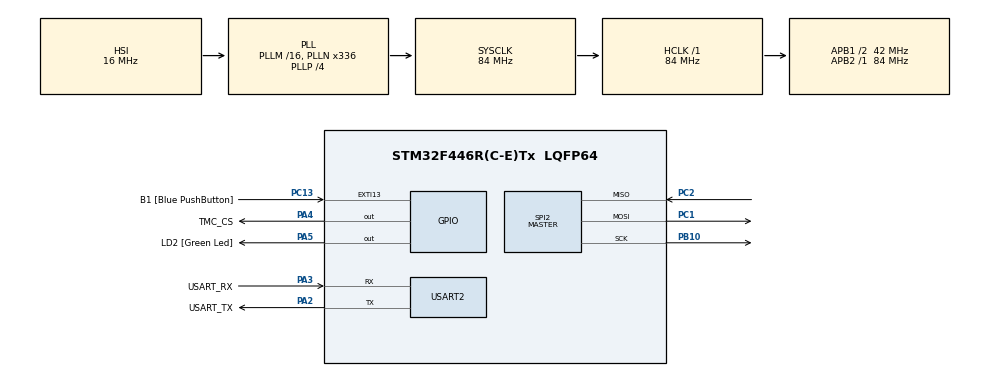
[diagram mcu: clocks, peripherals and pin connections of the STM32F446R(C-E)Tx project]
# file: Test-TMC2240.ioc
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Mcu.Family=STM32F4
Mcu.Name=STM32F446R(C-E)Tx
Mcu.Package=LQFP64
NVIC.PriorityGroup=NVIC_PRIORITYGROUP_0
PA13.GPIO_Label=TMS
PA13.Mode=Serial_Wire
PA13.Signal=SYS_JTMS-SWDIO
PA14.GPIO_Label=TCK
PA14.Mode=Serial_Wire
PA14.Signal=SYS_JTCK-SWCLK
PA2.GPIO_Label=USART_TX
PA2.Mode=Asynchronous
PA2.Signal=USART2_TX
PA3.GPIO_Label=USART_RX
PA3.Mode=Asynchronous
PA3.Signal=USART2_RX
PA4.GPIO_Label=TMC_CS
PA4.GPIO_PuPd=GPIO_NOPULL
PA4.PinState=GPIO_PIN_SET
PA4.Signal=GPIO_Output
PA5.GPIO_Label=LD2 [Green Led]
PA5.Signal=GPIO_Output
PB10.Mode=Full_Duplex_Master
PB10.Signal=SPI2_SCK
PB3.GPIO_Label=SWO
PB3.Signal=SYS_JTDO-SWO
PC1.Mode=Full_Duplex_Master
PC1.Signal=SPI2_MOSI
PC13.GPIO_Label=B1 [Blue PushButton]
PC13.GPIO_ModeDefaultEXTI=GPIO_MODE_IT_FALLING
PC13.Signal=GPXTI13
PC14-OSC32_IN.Mode=LSE-External-Oscillator
PC14-OSC32_IN.Signal=RCC_OSC32_IN
PC15-OSC32_OUT.Mode=LSE-External-Oscillator
PC15-OSC32_OUT.Signal=RCC_OSC32_OUT
PC2.Mode=Full_Duplex_Master
PC2.Signal=SPI2_MISO
PH0-OSC_IN.Mode=HSE-External-Oscillator
PH0-OSC_IN.Signal=RCC_OSC_IN
PH1-OSC_OUT.Mode=HSE-External-Oscillator
PH1-OSC_OUT.Signal=RCC_OSC_OUT
ProjectManager.HeapSize=0x200
ProjectManager.StackSize=0x400
ProjectManager.TargetToolchain=STM32CubeIDE
RCC.48MHZClocksFreq_Value=84000000
RCC.AHBFreq_Value=84000000
RCC.APB1CLKDivider=RCC_HCLK_DIV2
RCC.APB1Freq_Value=42000000
RCC.APB1TimFreq_Value=84000000
RCC.APB2Freq_Value=84000000
RCC.APB2TimFreq_Value=84000000
RCC.CortexFreq_Value=84000000
RCC.FLatency-AdvancedSettings=FLASH_LATENCY_2
RCC.HCLKFreq_Value=84000000
RCC.HSE_VALUE=8000000
RCC.HSI_VALUE=16000000
RCC.PLLN=336
RCC.PLLP=RCC_PLLP_DIV4
RCC.SYSCLKFreq_VALUE=84000000
RCC.SYSCLKSource=RCC_SYSCLKSOURCE_PLLCLK
RCC.USBFreq_Value=168000000
RCC.VCOOutputFreq_Value=336000000
SPI2.BaudRatePrescaler=SPI_BAUDRATEPRESCALER_256
SPI2.CLKPhase=SPI_PHASE_2EDGE
SPI2.CLKPolarity=SPI_POLARITY_HIGH
SPI2.CalculateBaudRate=0.1640625 MBits/s
SPI2.Direction=SPI_DIRECTION_2LINES
SPI2.Mode=SPI_MODE_MASTER
SPI2.VirtualType=VM_MASTER
USART2.VirtualMode=VM_ASYNC
board=NUCLEO-F446RE

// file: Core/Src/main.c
/* USER CODE BEGIN Header */
/**
  ******************************************************************************
  * @file           : main.c
  * @brief          : TMC2240 Stepper Motor Control
  ******************************************************************************
  */
/* USER CODE END Header */
#include "main.h"

/* USER CODE BEGIN Includes */
#include "tmc2240_hal.h"
#include "tmc2240_core.h"
#include "tmc2240_demo_guard.h"
#include "tmc2240_demo_startup.h"
#include <stdio.h>
#include <string.h>
/* USER CODE END Includes */

/* USER CODE BEGIN PD */
#ifndef TMC2240_DEMO_ENABLE_MOTION
#define TMC2240_DEMO_ENABLE_MOTION 0
#endif
#if TMC2240_DEMO_ENABLE_MOTION != 0 && TMC2240_DEMO_ENABLE_MOTION != 1
#error "TMC2240_DEMO_ENABLE_MOTION must be 0 or 1"
#endif
#if TMC2240_DEMO_ENABLE_MOTION
#if !defined(TMC2240_DEMO_RUN_CURRENT_MA) || !defined(TMC2240_DEMO_RREF_OHM) || \
    !defined(TMC2240_DEMO_MAX_STEPS) || !defined(TMC2240_DEMO_TIMEOUT_MS) || \
    !defined(TMC2240_DEMO_EN_PORT) || !defined(TMC2240_DEMO_EN_PIN) || \
    !defined(TMC2240_DEMO_EN_CLOCK_ENABLE) || !defined(TMC2240_DEMO_ACK_STARTUP_FLAGS)
#error "Motion requires explicit current, RREF, limits, ENN GPIO, and startup acknowledgement policy"
#endif
_Static_assert(TMC2240_DEMO_RUN_CURRENT_MA > 0U &&
               TMC2240_DEMO_RUN_CURRENT_MA <= UINT16_MAX, "Invalid motor current");
_Static_assert(TMC2240_DEMO_RREF_OHM > 0U &&
               TMC2240_DEMO_RREF_OHM <= UINT16_MAX, "Invalid RREF");
_Static_assert(TMC2240_DEMO_MAX_STEPS > 0U &&
               TMC2240_DEMO_MAX_STEPS <= INT32_MAX, "Invalid travel limit");
_Static_assert(TMC2240_DEMO_TIMEOUT_MS > 0U &&
               TMC2240_DEMO_TIMEOUT_MS <= INT32_MAX, "Invalid motion timeout");
_Static_assert((TMC2240_DEMO_ACK_STARTUP_FLAGS & ~0x1FU) == 0U,
               "Invalid startup GSTAT acknowledgement mask");
_Static_assert(TMC2240_DEMO_EN_PIN > 0U &&
               TMC2240_DEMO_EN_PIN <= UINT16_MAX &&
               (TMC2240_DEMO_EN_PIN & (TMC2240_DEMO_EN_PIN - 1U)) == 0U,
               "ENN must use one GPIO pin");
#endif
/* Nominal speeds only: pulse timing must be measured on the target hardware. */
#define TMC_HOME_SPEED_HZ        8000U    /* slow speed: SG-valid, used for homing and end detection */
#define TMC_TRAVEL_SPEED_HZ      24000U   /* fast traverse between the two ends */
#define TMC_RAMPUP_STEPS         2000U    /* half-speed steps before homing starts */
#define TMC_SLOW_ZONE_STEPS      2000UL   /* slow down this many steps before each end (step count) */
#define TMC_MAX_RAIL_STEPS       TMC2240_DEMO_MAX_STEPS
#define TMC_SG_DROP_MARGIN       80       /* slow-speed stall: SG drops this far below baseline (higher = less sensitive) */
#define TMC_SG_BASELINE_SHIFT    4U       /* baseline EMA weight: 1/16 per SG read */
#define TMC_SG_CONFIRM_COUNT     2U       /* consecutive low reads required to confirm stall */
#define TMC_SG_CHECK_INTERVAL    64U      /* steps between SG4 reads (each read ~0.5 ms SPI) */
#define TMC_SG_HOLDOFF_STEPS     500U     /* iterations after state change before SG checks resume */
/* USER CODE END PD */

SPI_HandleTypeDef hspi2;
UART_HandleTypeDef huart2;

/* USER CODE BEGIN PV */
static const TMC2240_SPIConfig_t tmc_spi_cfgs[] = {
    { .hspi = &hspi2, .cs_port = TMC_CS_GPIO_Port,
      .cs_pin = TMC_CS_Pin, .spi_timeout_ms = 100U },
};
static volatile bool demo_gpio_ready;
static volatile TMC2240Status demo_last_error = TMC2240_OK;
#if TMC2240_DEMO_ENABLE_MOTION
static tmc_demo_guard_t demo_guard;
static volatile bool demo_enable_pin_ready;
#endif
/* USER CODE END PV */

void SystemClock_Config(void);
static void MX_GPIO_Init(void);
static void MX_SPI2_Init(void);
static void MX_USART2_UART_Init(void);

/* USER CODE BEGIN PFP */
static void tmc2240_init(void);
/* USER CODE END PFP */

/* USER CODE BEGIN 0 */

static void demo_require(TMC2240Status status)
{
    if (status != TMC2240_OK) {
        if (demo_last_error == TMC2240_OK) {
            demo_last_error = status;
        }
        Error_Handler();
    }
}

/* ===== TMC2240 Initialization ===== */
static void tmc2240_init(void) {
    demo_require(tmc2240_hal_init(tmc_spi_cfgs, 1U));
    demo_require(tmc2240_hal_testConnection(0U));
}

static void demo_send(char *message, int length, size_t capacity)
{
    uint16_t count;
    if (!tmc_demo_message_length(length, capacity, &count)) {
        demo_require(TMC2240_ERROR_RANGE);
    }
    if (HAL_UART_Transmit(&huart2, (uint8_t *)message, count, 100U) != HAL_OK) {
        demo_require(TMC2240_ERROR_IO);
    }
}

#if TMC2240_DEMO_ENABLE_MOTION
static void demo_init_enable_pin(void)
{
    GPIO_InitTypeDef gpio = {0};
    GPIO_TypeDef *const port = TMC2240_DEMO_EN_PORT;
    const uint16_t pin = TMC2240_DEMO_EN_PIN;
    if (port == NULL ||
        (port == TMC_CS_GPIO_Port && (pin & TMC_CS_Pin) != 0U) ||
        (port == GPIOA && (pin & (GPIO_PIN_0 | GPIO_PIN_1 | GPIO_PIN_2 |
                                GPIO_PIN_3 | GPIO_PIN_5 | GPIO_PIN_13 |
                                GPIO_PIN_14)) != 0U) ||
        (port == GPIOB && (pin & (GPIO_PIN_3 | GPIO_PIN_10)) != 0U) ||
        (port == GPIOC && (pin & (GPIO_PIN_1 | GPIO_PIN_2 | GPIO_PIN_13)) != 0U)) {
        tmc_demo_guard_stop(&demo_guard, TMC_DEMO_INVALID_CONFIGURATION);
        Error_Handler();
    }
    TMC2240_DEMO_EN_CLOCK_ENABLE();
    HAL_GPIO_WritePin(TMC2240_DEMO_EN_PORT, TMC2240_DEMO_EN_PIN, GPIO_PIN_SET);
    gpio.Pin = TMC2240_DEMO_EN_PIN;
    gpio.Mode = GPIO_MODE_OUTPUT_PP;
    gpio.Pull = GPIO_PULLUP;
    gpio.Speed = GPIO_SPEED_FREQ_LOW;
    HAL_GPIO_Init(TMC2240_DEMO_EN_PORT, &gpio);
    demo_enable_pin_ready = true;
}

/* ===== LED status signaling (LD2 = PA5) =====
 * Solid ON: motor stepping normally
 * Blinking: an endpoint was confirmed.
 * Each blink phase is ~5 ms (400k NOPs @ 84 MHz). */
static void blink_led(uint32_t pulses)
{
    uint32_t p;
    for (p = 0U; p < pulses; p++) {
        HAL_GPIO_WritePin(LD2_GPIO_Port, LD2_Pin, GPIO_PIN_RESET);
        { volatile uint32_t j; for (j = 0U; j < 400000UL; j++) { __NOP(); } }
        HAL_GPIO_WritePin(LD2_GPIO_Port, LD2_Pin, GPIO_PIN_SET);
        { volatile uint32_t j; for (j = 0U; j < 400000UL; j++) { __NOP(); } }
    }
}
#endif

/* USER CODE END 0 */

/**
  * @brief  Main program - TMC2240 stepper motor control
  */
int main(void)
{

  HAL_Init();
  /* USER CODE BEGIN Init */
#if TMC2240_DEMO_ENABLE_MOTION
  demo_init_enable_pin();
#endif
  /* USER CODE END Init */
  SystemClock_Config();
  MX_GPIO_Init();
  MX_SPI2_Init();
  MX_USART2_UART_Init();

  /* USER CODE BEGIN 2 */

  /* ---- Send startup message ---- */
  {
      char startup[] = "TMC2240 diagnostics; motion requires explicit build configuration\r\n";
      demo_send(startup, (int)(sizeof(startup) - 1U), sizeof(startup));
  }

  tmc2240_init();

#if TMC2240_DEMO_ENABLE_MOTION
  /* ---- Configure STEP (PA0) and DIR (PA1) ---- */
  {
      GPIO_InitTypeDef g = {0};
      g.Pin = GPIO_PIN_0 | GPIO_PIN_1;
      g.Mode = GPIO_MODE_OUTPUT_PP;
      g.Pull = GPIO_NOPULL;
      g.Speed = GPIO_SPEED_FREQ_VERY_HIGH;
      HAL_GPIO_Init(GPIOA, &g);
  }

  demo_require(tmc_demo_prepare_motor(0U, TMC2240_DEMO_RUN_CURRENT_MA,
                                     TMC2240_DEMO_RREF_OHM,
                                     TMC2240_DEMO_ACK_STARTUP_FLAGS));
  demo_require(tmc2240_hal_activateMotor(0U, 3U));
  if (!tmc_demo_guard_init(&demo_guard, HAL_GetTick(), TMC_MAX_RAIL_STEPS,
                           TMC2240_DEMO_TIMEOUT_MS)) {
      Error_Handler();
  }
  HAL_GPIO_WritePin(TMC2240_DEMO_EN_PORT, TMC2240_DEMO_EN_PIN, GPIO_PIN_RESET);

  /* ---- Start forward (CW) ---- */
  HAL_GPIO_WritePin(GPIOA, GPIO_PIN_1, GPIO_PIN_SET);

  /* ---- Ramp up at half homing speed before homing begins ---- */
  {
      volatile uint32_t dly = 7000000UL / (TMC_HOME_SPEED_HZ / 2U);
      uint32_t ramp;
      for (ramp = 0UL; ramp < TMC_RAMPUP_STEPS; ramp++) {
          if (!tmc_demo_guard_step(&demo_guard, HAL_GetTick(), (int32_t)ramp, 1)) {
              Error_Handler();
          }
          HAL_GPIO_WritePin(GPIOA, GPIO_PIN_0, GPIO_PIN_SET);
          { volatile uint32_t j; for (j = 0; j < dly; j++) { __NOP(); } }
          HAL_GPIO_WritePin(GPIOA, GPIO_PIN_0, GPIO_PIN_RESET);
          { volatile uint32_t j; for (j = 0; j < dly; j++) { __NOP(); } }
      }
  }
  if (!tmc_demo_guard_new_leg(&demo_guard, HAL_GetTick())) {
      Error_Handler();
  }
#endif

  /* USER CODE END 2 */

  while (1)
  {
    /* USER CODE BEGIN 3 */

#if TMC2240_DEMO_ENABLE_MOTION
    {
        /* States: slow homing -> slow measure of the rail -> fast bounce with
         * SG-confirmed ends. Slowdown is step-count based; SG runs only at slow
         * speed where it is reliable. */
        enum { ST_HOMING = 0, ST_MEASURE, ST_BOUNCE };
        static const char *const state_names[] = { "HOMING", "MEASURE", "BOUNCE" };

        static uint8_t  state       = ST_HOMING;
        static int8_t   dir         = -1;    /* -1 = toward home, +1 = away */
        static int32_t  pos         = 0L;    /* software position; 0 = home end */
        static int32_t  rail        = 0L;    /* rail length in steps, measured in ST_MEASURE */
        static uint8_t  slow        = 1U;    /* 1 = slow (SG-valid), 0 = fast traverse */
        static uint32_t state_age   = 0UL;   /* iterations since last state change */
        static uint32_t settle      = 0UL;   /* iterations to pause after a confirm */
        static uint32_t sg_low_cnt  = 0UL;
        static int32_t  sg_base     = 0L;    /* EMA of free-running SG (slow speed only) */
        static uint32_t stall_cnt   = 0UL;
        static uint32_t home_cnt    = 0UL;
        static uint32_t step_cnt    = 0UL;
        static uint32_t fault_timer = 0UL;
        static uint32_t last_print  = 0UL;
        uint32_t cur_hz;
        volatile uint32_t dly;

        cur_hz = ((state == ST_BOUNCE) && (slow == 0U)) ? TMC_TRAVEL_SPEED_HZ
                                                        : TMC_HOME_SPEED_HZ;
        dly = 7000000UL / cur_hz;

        HAL_GPIO_WritePin(LD2_GPIO_Port, LD2_Pin, GPIO_PIN_SET);  /* solid = running */

        fault_timer++;
        if ((fault_timer & 1023UL) == 0UL) {
            uint8_t faults = 0U;
            demo_require(tmc2240_check_faults(0U, &faults));
            if (faults != 0U) {
                char evt[64];
                int len = snprintf(evt, sizeof(evt),
                                   "FAULT 0x%02X; stopping\r\n", (unsigned)faults);
                tmc_demo_guard_stop(&demo_guard, TMC_DEMO_DRIVER_FAULT);
                demo_last_error = TMC2240_ERROR_FAULT;
                HAL_GPIO_WritePin(TMC2240_DEMO_EN_PORT, TMC2240_DEMO_EN_PIN, GPIO_PIN_SET);
                demo_send(evt, len, sizeof(evt));
                Error_Handler();
            }
        }

        step_cnt++;
        state_age++;

        if (settle > 0UL) {
            /* brief pause after a confirm: let coil current settle before stepping the other way */
            settle--;
            { volatile uint32_t j; for (j = 0; j < dly; j++) { __NOP(); } }
            { volatile uint32_t j; for (j = 0; j < dly; j++) { __NOP(); } }
        } else {
            /* ---- SG sampling (slow speed only, where it is reliable) ---- */
            if ((slow != 0U) && ((step_cnt % TMC_SG_CHECK_INTERVAL) == 0UL) &&
                (state_age > TMC_SG_HOLDOFF_STEPS)) {
                uint16_t sg_value = 0U;
                demo_require(tmc2240_stallguard_read(0U, &sg_value));
                const int32_t sg = (int32_t)sg_value;

                {
                    /* track the free-running baseline; confirm stall on persistent drop */
                    if (sg >= (sg_base - (int32_t)TMC_SG_DROP_MARGIN)) {
                        sg_base += (sg - sg_base) >> TMC_SG_BASELINE_SHIFT;
                    }
                    if (sg < (sg_base - (int32_t)TMC_SG_DROP_MARGIN)) {
                        sg_low_cnt++;
                    } else {
                        sg_low_cnt = 0UL;
                    }

                    if (sg_low_cnt >= TMC_SG_CONFIRM_COUNT) {
                        if (!tmc_demo_guard_new_leg(&demo_guard, HAL_GetTick())) {
                            Error_Handler();
                        }
                        sg_low_cnt = 0UL;
                        settle = 200UL;
                        state_age = 0UL;

                        if (state == ST_HOMING) {
                            /* first end found: that is home; measure the rail away from it */
                            home_cnt++;
                            pos = 0L;
                            dir = 1;
                            state = ST_MEASURE;
                            blink_led(2U);
                            char evt[128];
                            int len = snprintf(evt, sizeof(evt),
                                "HOME #%lu found @step %lu SG=%ld base=%ld\r\n",
                                (unsigned long)home_cnt, (unsigned long)step_cnt,
                                (long)sg, (long)sg_base);
                            demo_send(evt, len, sizeof(evt));
                        } else if (state == ST_MEASURE) {
                            if (pos <= 0L) {
                                tmc_demo_guard_stop(&demo_guard, TMC_DEMO_INVALID_CONFIGURATION);
                                Error_Handler();
                            }
                            /* far end found: rail length known, start the fast bounce */
                            rail = pos;
                            stall_cnt++;
                            dir = -1;
                            slow = 0U;
                            state = ST_BOUNCE;
                            blink_led(3U);
                            char evt[96];
                            int len = snprintf(evt, sizeof(evt),
                                "RAIL = %ld steps @step %lu SG=%ld base=%ld\r\n",
                                (long)rail, (unsigned long)step_cnt,
                                (long)sg, (long)sg_base);
                            demo_send(evt, len, sizeof(evt));
                        } else {
                            /* bounce end confirm: reverse and go fast away from the end */
                            if (dir > 0) {
                                rail = pos;   /* refine the far end each cycle */
                                stall_cnt++;
                                blink_led(3U);
                                char evt[96];
                                int len = snprintf(evt, sizeof(evt),
                                    "STALL far @pos %ld SG=%ld base=%ld\r\n",
                                    (long)pos, (long)sg, (long)sg_base);
                                demo_send(evt, len, sizeof(evt));
                            } else {
                                home_cnt++;
                                pos = 0L;
                                stall_cnt++;
                                blink_led(2U);
                                char evt[96];
                                int len = snprintf(evt, sizeof(evt),
                                    "STALL home @pos %ld SG=%ld base=%ld\r\n",
                                    (long)pos, (long)sg, (long)sg_base);
                                demo_send(evt, len, sizeof(evt));
                            }
                            dir = (int8_t)-dir;
                            slow = 0U;
                        }
                    }
                }
            }

            /* ---- bounce: slow down by step count near each end ---- */
            if (state == ST_BOUNCE) {
                if ((dir > 0) && (pos >= (rail - (int32_t)TMC_SLOW_ZONE_STEPS))) {
                    slow = 1U;
                } else if ((dir < 0) && (pos <= (int32_t)TMC_SLOW_ZONE_STEPS)) {
                    slow = 1U;
                }
            }

            if (!tmc_demo_guard_step(&demo_guard, HAL_GetTick(), pos, dir)) {
                Error_Handler();
            }

            /* ---- drive DIR and one STEP pulse at the current rate ---- */
            pos += (int32_t)dir;
            HAL_GPIO_WritePin(GPIOA, GPIO_PIN_1,
                              (dir > 0) ? GPIO_PIN_SET : GPIO_PIN_RESET);
            HAL_GPIO_WritePin(GPIOA, GPIO_PIN_0, GPIO_PIN_SET);
            { volatile uint32_t j; for (j = 0; j < dly; j++) { __NOP(); } }
            HAL_GPIO_WritePin(GPIOA, GPIO_PIN_0, GPIO_PIN_RESET);
            { volatile uint32_t j; for (j = 0; j < dly; j++) { __NOP(); } }
        }

        /* ---- Periodic UART status (1 Hz) ---- */
        if ((HAL_GetTick() - last_print) >= 1000UL) {
            last_print = HAL_GetTick();

            uint16_t sg = 0U;
            uint32_t tstep = 0U;
            uint32_t vmv = 0U;
            int16_t tc10 = 0;
            demo_require(tmc2240_stallguard_read(0U, &sg));
            demo_require(tmc2240_readRegister(0U, TMC2240_TSTEP, &tstep));
            demo_require(tmc2240_get_vsupply_mV(0U, &vmv));
            demo_require(tmc2240_get_temperature_c10(0U, &tc10));
            char temperature[16];
            if (!tmc_demo_format_temperature(tc10, temperature, sizeof(temperature))) {
                demo_require(TMC2240_ERROR_RANGE);
            }

            char buf[256];
            int len = snprintf(buf, sizeof(buf),
                "ST:%s POS:%6ld RNG:%6ld SG:%4ld base=%4ld TSTEP:%5lu V:%lumV T:%sC STALLS:%lu HOME:%lu\r\n",
                state_names[state], (long)pos, (long)rail,
                (long)sg, (long)sg_base, (unsigned long)tstep, (unsigned long)vmv,
                temperature,
                (unsigned long)stall_cnt, (unsigned long)home_cnt);
            demo_send(buf, len, sizeof(buf));
        }
    }
#else
    HAL_Delay(1000U);
#endif

    /* USER CODE END 3 */
  }
}

void SystemClock_Config(void)
{
  RCC_OscInitTypeDef RCC_OscInitStruct = {0};
  RCC_ClkInitTypeDef RCC_ClkInitStruct = {0};

  /** Configure the main internal regulator output voltage
  */
  __HAL_RCC_PWR_CLK_ENABLE();
  __HAL_PWR_VOLTAGESCALING_CONFIG(PWR_REGULATOR_VOLTAGE_SCALE3);

  /** Initializes the RCC Oscillators according to the specified parameters
  * in the RCC_OscInitTypeDef structure.
  */
  RCC_OscInitStruct.OscillatorType = RCC_OSCILLATORTYPE_HSI;
  RCC_OscInitStruct.HSIState = RCC_HSI_ON;
  RCC_OscInitStruct.HSICalibrationValue = RCC_HSICALIBRATION_DEFAULT;
  RCC_OscInitStruct.PLL.PLLState = RCC_PLL_ON;
  RCC_OscInitStruct.PLL.PLLSource = RCC_PLLSOURCE_HSI;
  RCC_OscInitStruct.PLL.PLLM = 16;
  RCC_OscInitStruct.PLL.PLLN = 336;
  RCC_OscInitStruct.PLL.PLLP = RCC_PLLP_DIV4;
  RCC_OscInitStruct.PLL.PLLQ = 2;
  RCC_OscInitStruct.PLL.PLLR = 2;
  if (HAL_RCC_OscConfig(&RCC_OscInitStruct) != HAL_OK)
  {
    Error_Handler();
  }

  /** Initializes the CPU, AHB and APB buses clocks
  */
  RCC_ClkInitStruct.ClockType = RCC_CLOCKTYPE_HCLK|RCC_CLOCKTYPE_SYSCLK
                              |RCC_CLOCKTYPE_PCLK1|RCC_CLOCKTYPE_PCLK2;
  RCC_ClkInitStruct.SYSCLKSource = RCC_SYSCLKSOURCE_PLLCLK;
  RCC_ClkInitStruct.AHBCLKDivider = RCC_SYSCLK_DIV1;
  RCC_ClkInitStruct.APB1CLKDivider = RCC_HCLK_DIV2;
  RCC_ClkInitStruct.APB2CLKDivider = RCC_HCLK_DIV1;

  if (HAL_RCC_ClockConfig(&RCC_ClkInitStruct, FLASH_LATENCY_2) != HAL_OK)
  {
    Error_Handler();
  }
}

static void MX_SPI2_Init(void)
{

  /* SPI2 parameter configuration*/
  hspi2.Instance = SPI2;
  hspi2.Init.Mode = SPI_MODE_MASTER;
  hspi2.Init.Direction = SPI_DIRECTION_2LINES;
  hspi2.Init.DataSize = SPI_DATASIZE_8BIT;
  hspi2.Init.CLKPolarity = SPI_POLARITY_HIGH;
  hspi2.Init.CLKPhase = SPI_PHASE_2EDGE;
  hspi2.Init.NSS = SPI_NSS_SOFT;
  hspi2.Init.BaudRatePrescaler = SPI_BAUDRATEPRESCALER_256;
  hspi2.Init.FirstBit = SPI_FIRSTBIT_MSB;
  hspi2.Init.TIMode = SPI_TIMODE_DISABLE;
  hspi2.Init.CRCCalculation = SPI_CRCCALCULATION_DISABLE;
  hspi2.Init.CRCPolynomial = 10;
  if (HAL_SPI_Init(&hspi2) != HAL_OK)
  {
    Error_Handler();
  }

}

static void MX_USART2_UART_Init(void)
{

  huart2.Instance = USART2;
  huart2.Init.BaudRate = 115200;
  huart2.Init.WordLength = UART_WORDLENGTH_8B;
  huart2.Init.StopBits = UART_STOPBITS_1;
  huart2.Init.Parity = UART_PARITY_NONE;
  huart2.Init.Mode = UART_MODE_TX_RX;
  huart2.Init.HwFlowCtl = UART_HWCONTROL_NONE;
  huart2.Init.OverSampling = UART_OVERSAMPLING_16;
  if (HAL_UART_Init(&huart2) != HAL_OK)
  {
    Error_Handler();
  }

}

static void MX_GPIO_Init(void)
{
  GPIO_InitTypeDef GPIO_InitStruct = {0};

  /* GPIO Ports Clock Enable */
  __HAL_RCC_GPIOC_CLK_ENABLE();
  __HAL_RCC_GPIOH_CLK_ENABLE();
  __HAL_RCC_GPIOA_CLK_ENABLE();
  __HAL_RCC_GPIOB_CLK_ENABLE();

  /*Configure GPIO pin Output Level */
  HAL_GPIO_WritePin(TMC_CS_GPIO_Port, TMC_CS_Pin, GPIO_PIN_SET);

  /*Configure GPIO pin Output Level */
  HAL_GPIO_WritePin(LD2_GPIO_Port, LD2_Pin, GPIO_PIN_RESET);

  /*Configure GPIO pin : B1_Pin */
  GPIO_InitStruct.Pin = B1_Pin;
  GPIO_InitStruct.Mode = GPIO_MODE_IT_FALLING;
  GPIO_InitStruct.Pull = GPIO_NOPULL;
  HAL_GPIO_Init(B1_GPIO_Port, &GPIO_InitStruct);

  /*Configure GPIO pins : TMC_CS_Pin LD2_Pin */
  GPIO_InitStruct.Pin = TMC_CS_Pin|LD2_Pin;
  GPIO_InitStruct.Mode = GPIO_MODE_OUTPUT_PP;
  GPIO_InitStruct.Pull = GPIO_NOPULL;
  GPIO_InitStruct.Speed = GPIO_SPEED_FREQ_LOW;
  HAL_GPIO_Init(GPIOA, &GPIO_InitStruct);

  /* USER CODE BEGIN MX_GPIO_Init_2 */
  demo_gpio_ready = true;
  /* USER CODE END MX_GPIO_Init_2 */
}

void Error_Handler(void)
{
  /* USER CODE BEGIN Error_Handler_Debug */
#if TMC2240_DEMO_ENABLE_MOTION
  tmc_demo_guard_stop(&demo_guard, TMC_DEMO_COMMUNICATION_FAILURE);
  if (demo_enable_pin_ready) {
      HAL_GPIO_WritePin(TMC2240_DEMO_EN_PORT, TMC2240_DEMO_EN_PIN, GPIO_PIN_SET);
  }
#endif
  if (demo_gpio_ready) {
      HAL_GPIO_WritePin(GPIOA, GPIO_PIN_0, GPIO_PIN_RESET);
      HAL_GPIO_WritePin(LD2_GPIO_Port, LD2_Pin, GPIO_PIN_RESET);
  }
  __disable_irq();
  while (1)
  {
  }
  /* USER CODE END Error_Handler_Debug */
}
